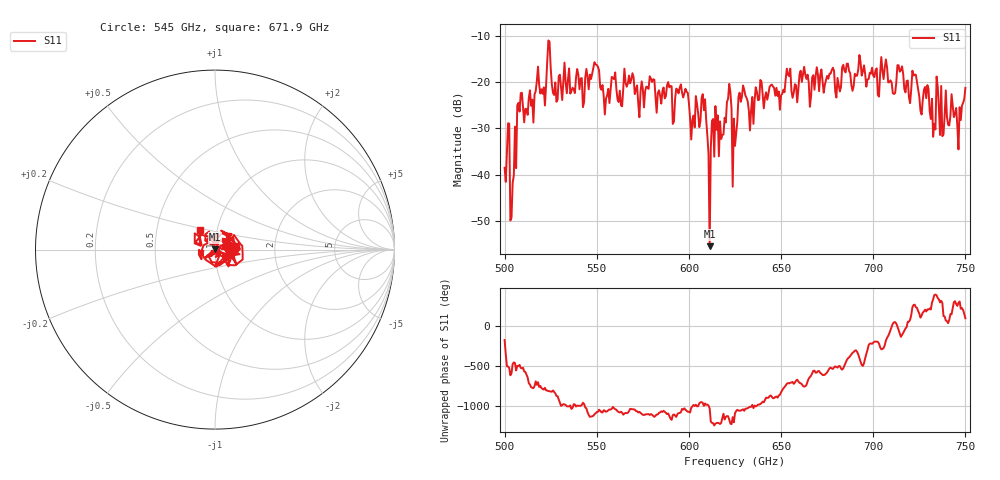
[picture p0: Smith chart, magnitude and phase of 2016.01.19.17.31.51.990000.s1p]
!Created with skrf (http://scikit-rf.org).
# GHz S RI R 50.0
!freq ReS11 ImS11
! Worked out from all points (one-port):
!   401 points, 500 GHz to 750 GHz, reference 50 ohm
!   lowest |S11| = -55.5 dB at 611.2 GHz (marker M1), VSWR 1.00, Z = 50.1 + j0.136 ohm
!   |S11| at or under -10 dB: start of sweep to end of sweep
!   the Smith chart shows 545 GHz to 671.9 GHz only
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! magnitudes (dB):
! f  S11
! 500 GHz  -38.5
! 501.2 GHz  -35.1
! 504.4 GHz  -41.7
! 508.1 GHz  -26.4
! 521.2 GHz  -21.2
! 523.8 GHz  -11.0
! 527.5 GHz  -20.1
! 531.2 GHz  -23.9
! 549.4 GHz  -16.2
! 562.5 GHz  -21.9
! 568.8 GHz  -19.4
! 593.8 GHz  -21.6
! 601.9 GHz  -28.2
! 608.1 GHz  -26.1
! 611.2 GHz  -55.5
! 621.9 GHz  -20.4
! 625 GHz  -33.8
! 628.8 GHz  -23.2
! 633.8 GHz  -26.0
! 656.2 GHz  -23.4
! 687.5 GHz  -18.1
! 711.2 GHz  -22.6
! 714.4 GHz  -17.8
! 718.8 GHz  -19.7
! 722.5 GHz  -18.4
! 732.5 GHz  -31.8
! 745 GHz  -25.6
! 750 GHz  -21.3
